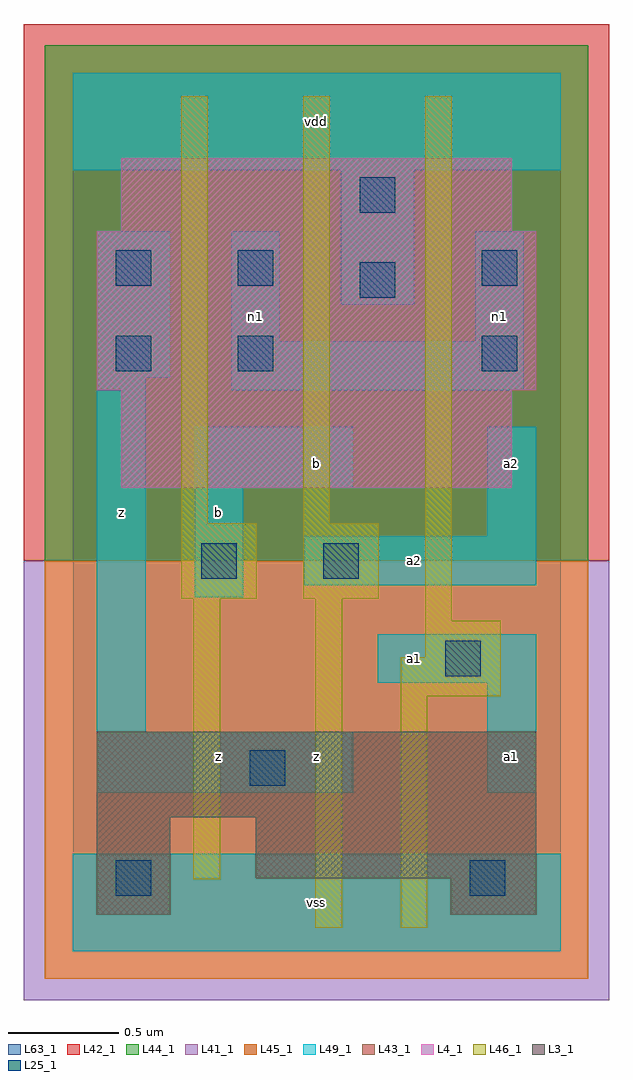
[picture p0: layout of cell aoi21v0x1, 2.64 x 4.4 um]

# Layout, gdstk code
import gdstk
lib = gdstk.Library(unit=1e-6, precision=1e-09)
def R(c, l, rs):  # rectangles x0, y0, x1, y1
    for r in rs: c.add(gdstk.rectangle(r[:2], r[2:], *l))
L3_1 = (3, 1)
L4_1 = (4, 1)
L25_1 = (25, 1)
L41_1 = (41, 1)
L42_1 = (42, 1)
L43_1 = (43, 1)
L44_1 = (44, 1)
L45_1 = (45, 1)
L46_1 = (46, 1)
L49_1 = (49, 1)
L63_1 = (63, 1)

aoi21v0x1 = lib.new_cell('aoi21v0x1')
R(aoi21v0x1, L3_1, [(0.11,0.165,0.44,0.605), (1.705,0.165,2.09,0.33), (0.825,0.33,2.09,0.605), (0.11,0.605,2.09,0.99)])
R(aoi21v0x1, L4_1, [(0.22,2.09,1.98,2.53), (0.11,2.53,2.09,3.245), (0.22,3.245,1.98,3.575)])
R(aoi21v0x1, L25_1, [(0.195,0.25,0.355,0.41), (1.79,0.25,1.95,0.41), (0.8,0.745,0.96,0.905), (1.68,1.24,1.84,1.4), (0.58,1.68,0.74,1.84), (1.13,1.68,1.29,1.84), (0.195,2.615,0.355,2.775), (0.745,2.615,0.905,2.775), (1.845,2.615,2.005,2.775), (1.295,2.945,1.455,3.105), (0.195,3,0.355,3.16), (0.745,3,0.905,3.16), (1.845,3,2.005,3.16), (1.295,3.33,1.455,3.49)])
R(aoi21v0x1, L41_1, [(-0.22,-0.22,2.42,1.76)])
R(aoi21v0x1, L42_1, [(-0.22,1.76,2.42,4.18)])
R(aoi21v0x1, L43_1, [(0.11,0.165,0.44,0.605), (1.705,0.165,2.09,0.33), (0.825,0.33,2.09,0.605), (0.11,0.605,2.09,0.99), (0.22,2.09,1.98,2.53), (0.11,2.53,2.09,3.245), (0.22,3.245,1.98,3.575)])
R(aoi21v0x1, L44_1, [(-0.125,1.76,2.325,4.085)])
R(aoi21v0x1, L45_1, [(-0.125,-0.125,2.325,1.76)])
R(aoi21v0x1, L46_1, [(1.095,0.105,1.215,1.59), (1.48,0.105,1.6,1.15), (0.545,0.325,0.665,1.59), (1.48,1.15,1.93,1.325), (1.59,1.325,1.93,1.49), (1.59,1.49,1.71,3.855), (0.49,1.59,0.83,1.93), (1.04,1.59,1.38,1.93), (0.49,1.93,0.61,3.855), (1.04,1.93,1.16,3.855)])
R(aoi21v0x1, L49_1, [(0,0,2.2,0.44), (0.11,0.715,1.265,0.99), (1.87,0.715,2.09,1.21), (0.11,0.99,0.33,2.585), (1.375,1.21,2.09,1.43), (0.55,1.595,0.77,2.09), (1.045,1.65,2.09,1.87), (1.87,1.87,2.09,2.365), (0.55,2.09,1.265,2.365), (0.715,2.53,2.035,2.75), (0.11,2.585,0.44,3.245), (0.715,2.75,0.935,3.245), (1.815,2.75,2.035,3.245), (1.21,2.915,1.54,3.52), (0,3.52,2.2,3.96)])
R(aoi21v0x1, L63_1, [(0,0,2.2,3.96)])
aoi21v0x1.add(gdstk.Label('z', (0.22,1.98), layer=49, texttype=1))
aoi21v0x1.add(gdstk.Label('z', (0.66,0.88), layer=49, texttype=1))
aoi21v0x1.add(gdstk.Label('b', (0.66,1.98), layer=49, texttype=1))
aoi21v0x1.add(gdstk.Label('n1', (0.825,2.86), layer=49, texttype=1))
aoi21v0x1.add(gdstk.Label('vss', (1.1,0.22), layer=49, texttype=1))
aoi21v0x1.add(gdstk.Label('z', (1.1,0.88), layer=49, texttype=1))
aoi21v0x1.add(gdstk.Label('a2', (1.54,1.76), layer=49, texttype=1))
aoi21v0x1.add(gdstk.Label('a1', (1.54,1.32), layer=49, texttype=1))
aoi21v0x1.add(gdstk.Label('b', (1.1,2.2), layer=49, texttype=1))
aoi21v0x1.add(gdstk.Label('vdd', (1.1,3.74), layer=49, texttype=1))
aoi21v0x1.add(gdstk.Label('a1', (1.98,0.88), layer=49, texttype=1))
aoi21v0x1.add(gdstk.Label('a2', (1.98,2.2), layer=49, texttype=1))
aoi21v0x1.add(gdstk.Label('n1', (1.925,2.86), layer=49, texttype=1))

lib.write_gds('aoi21v0x1.gds')
